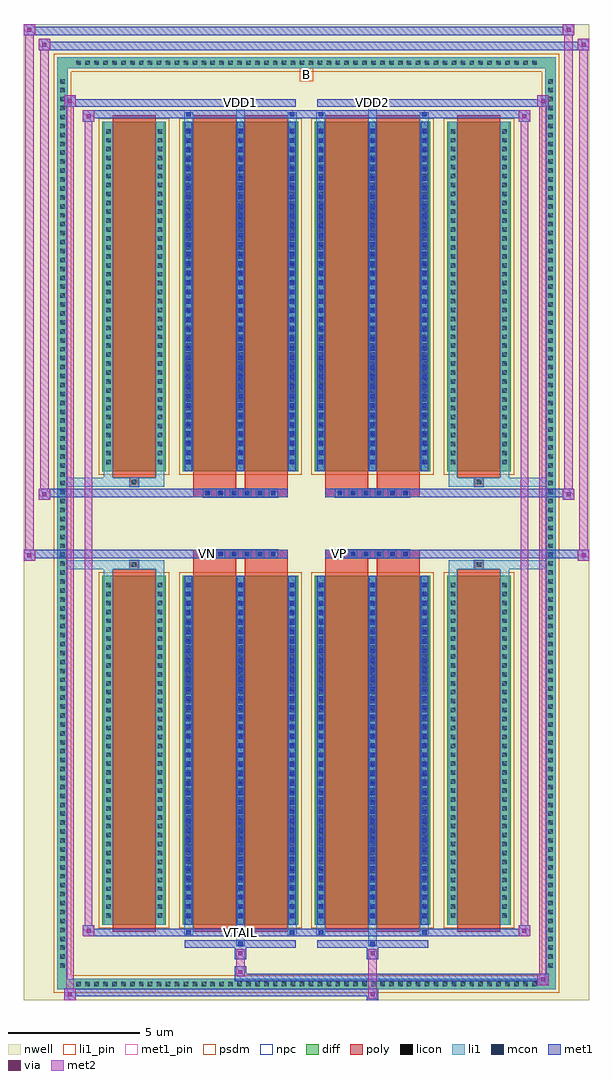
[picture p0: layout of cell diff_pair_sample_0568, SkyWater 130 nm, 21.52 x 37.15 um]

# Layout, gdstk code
import gdstk
lib = gdstk.Library(unit=1e-6, precision=5e-09)
def R(c, l, rs):  # rectangles x0, y0, x1, y1
    for r in rs: c.add(gdstk.rectangle(r[:2], r[2:], *l))
def A(c, l, x, y, w, h, nx, ny, dx, dy):  # array of equal rectangles
    R(c, l, [(x+i*dx, y+j*dy, x+i*dx+w, y+j*dy+h) for i in range(nx) for j in range(ny)])
def P(c, l, *ps):  # polygons
    for p in ps: c.add(gdstk.Polygon(p, *l))
nwell = (64, 20)
diff = (65, 20)
poly = (66, 20)
licon = (66, 44)
li1_pin = (67, 16)
li1 = (67, 20)
mcon = (67, 44)
met1_pin = (68, 16)
met1 = (68, 20)
via = (68, 44)
met2 = (69, 20)
psdm = (94, 20)
npc = (95, 20)

diff_pair_sample_0568 = lib.new_cell('diff_pair_sample_0568')
R(diff_pair_sample_0568, nwell, [(-10.76,-18.14,10.76,19.01), (-8.08,-16.33,-0.01,-0.795), (0.01,-16.33,8.08,-0.795), (-8.08,0.795,-0.01,16.33), (0.01,0.795,8.08,16.33)])
A(diff_pair_sample_0568, diff, -8.875, -17.74, 0.41, 0.41, 52, 2, 0.34, 35.07)
A(diff_pair_sample_0568, diff, -9.49, -17.035, 0.41, 0.41, 1, 100, 0, 0.34)
A(diff_pair_sample_0568, diff, 9.08, -17.035, 0.41, 0.41, 1, 100, 0, 0.34)
R(diff_pair_sample_0568, diff, [(-8.875,-17.74,8.875,-17.33), (-9.49,-17.035,-9.08,17.035), (9.08,-17.035,9.49,17.035), (-7.77,-15.285,-5.35,-1.985), (-4.71,-15.285,-0.32,-1.985), (0.32,-15.285,4.71,-1.985), (5.35,-15.285,7.77,-1.985), (-7.77,1.985,-5.35,15.285), (-4.71,1.985,-0.32,15.285), (0.32,1.985,4.71,15.285), (5.35,1.985,7.77,15.285), (-8.875,17.33,8.875,17.74)])
P(diff_pair_sample_0568, diff, [(9.49,17.74),(-9.49,17.74),(-9.49,-17.33),(-9.08,-17.33),(-9.08,17.33),(9.08,17.33),(9.08,-17.33),(-9.08,-17.33),(-9.49,-17.33),(-9.49,-17.74),(9.49,-17.74)])
A(diff_pair_sample_0568, poly, -3.93, -1.325, 0.33, 0.33, 6, 2, 0.5, 2.32)
A(diff_pair_sample_0568, poly, 1.1, -1.325, 0.33, 0.33, 6, 2, 0.5, 2.32)
R(diff_pair_sample_0568, poly, [(-7.38,-15.535,-5.74,-1.735), (-4.32,-15.535,-2.68,-1.735), (-2.35,-15.535,-0.71,-1.735), (0.71,-15.535,2.35,-1.735), (2.68,-15.535,4.32,-1.735), (5.74,-15.535,7.38,-1.735), (-6.725,-1.735,-6.395,-1.405), (-6.725,-1.735,-6.395,-1.405), (-4.32,-1.735,-2.68,-1.325), (-2.35,-1.735,-0.71,-1.325), (0.71,-1.735,2.35,-1.325), (2.68,-1.735,4.32,-1.325), (6.395,-1.735,6.725,-1.405), (6.395,-1.735,6.725,-1.405), (-4.32,-1.325,-0.71,-0.995), (0.71,-1.325,4.32,-0.995), (-4.32,0.995,-0.71,1.325), (0.71,0.995,4.32,1.325), (-4.32,1.325,-2.68,1.735), (-2.35,1.325,-0.71,1.735), (0.71,1.325,2.35,1.735), (2.68,1.325,4.32,1.735), (-6.725,1.405,-6.395,1.735), (-6.725,1.405,-6.395,1.735), (6.395,1.405,6.725,1.735), (6.395,1.405,6.725,1.735), (-7.38,1.735,-5.74,15.535), (-4.32,1.735,-2.68,15.535), (-2.35,1.735,-0.71,15.535), (0.71,1.735,2.35,15.535), (2.68,1.735,4.32,15.535), (5.74,1.735,7.38,15.535)])
A(diff_pair_sample_0568, licon, -8.755, -17.62, 0.17, 0.17, 52, 2, 0.34, 35.07)
A(diff_pair_sample_0568, licon, -9.37, -16.915, 0.17, 0.17, 1, 100, 0, 0.34)
A(diff_pair_sample_0568, licon, 9.2, -16.915, 0.17, 0.17, 1, 100, 0, 0.34)
A(diff_pair_sample_0568, licon, -7.63, -15.01, 0.17, 0.17, 1, 38, 0, 0.34)
A(diff_pair_sample_0568, licon, -5.66, -15.01, 0.17, 0.17, 1, 38, 0, 0.34)
A(diff_pair_sample_0568, licon, -4.57, -15.01, 0.17, 0.17, 3, 38, 1.97, 0.34)
A(diff_pair_sample_0568, licon, 0.46, -15.01, 0.17, 0.17, 3, 38, 1.97, 0.34)
A(diff_pair_sample_0568, licon, 5.49, -15.01, 0.17, 0.17, 1, 38, 0, 0.34)
A(diff_pair_sample_0568, licon, 7.46, -15.01, 0.17, 0.17, 1, 38, 0, 0.34)
A(diff_pair_sample_0568, licon, -3.85, -1.245, 0.17, 0.17, 6, 2, 0.5, 2.32)
A(diff_pair_sample_0568, licon, 1.18, -1.245, 0.17, 0.17, 6, 2, 0.5, 2.32)
A(diff_pair_sample_0568, licon, -7.63, 2.26, 0.17, 0.17, 1, 38, 0, 0.34)
A(diff_pair_sample_0568, licon, -5.66, 2.26, 0.17, 0.17, 1, 38, 0, 0.34)
A(diff_pair_sample_0568, licon, -4.57, 2.26, 0.17, 0.17, 3, 38, 1.97, 0.34)
A(diff_pair_sample_0568, licon, 0.46, 2.26, 0.17, 0.17, 3, 38, 1.97, 0.34)
A(diff_pair_sample_0568, licon, 5.49, 2.26, 0.17, 0.17, 1, 38, 0, 0.34)
A(diff_pair_sample_0568, licon, 7.46, 2.26, 0.17, 0.17, 1, 38, 0, 0.34)
R(diff_pair_sample_0568, licon, [(-6.645,-1.655,-6.475,-1.485), (6.475,-1.655,6.645,-1.485), (-6.645,1.485,-6.475,1.655), (6.475,1.485,6.645,1.655)])
R(diff_pair_sample_0568, li1_pin, [(-0.25,16.83,0.25,17.33)])
A(diff_pair_sample_0568, li1, -8.835, -17.7, 0.33, 0.33, 52, 2, 0.34, 35.07)
A(diff_pair_sample_0568, li1, -9.45, -16.995, 0.33, 0.33, 1, 100, 0, 0.34)
A(diff_pair_sample_0568, li1, 9.12, -16.995, 0.33, 0.33, 1, 100, 0, 0.34)
A(diff_pair_sample_0568, li1, -4.65, -15.285, 0.33, 13.3, 3, 2, 1.97, 17.27)
A(diff_pair_sample_0568, li1, 0.38, -15.285, 0.33, 13.3, 3, 2, 1.97, 17.27)
A(diff_pair_sample_0568, li1, -7.71, -15.09, 0.33, 0.33, 1, 38, 0, 0.34)
A(diff_pair_sample_0568, li1, -5.74, -15.09, 0.33, 0.33, 1, 38, 0, 0.34)
A(diff_pair_sample_0568, li1, -4.65, -15.09, 0.33, 0.33, 3, 38, 1.97, 0.34)
A(diff_pair_sample_0568, li1, 0.38, -15.09, 0.33, 0.33, 3, 38, 1.97, 0.34)
A(diff_pair_sample_0568, li1, 5.41, -15.09, 0.33, 0.33, 1, 38, 0, 0.34)
A(diff_pair_sample_0568, li1, 7.38, -15.09, 0.33, 0.33, 1, 38, 0, 0.34)
A(diff_pair_sample_0568, li1, -4.57, -15.02, 0.17, 0.17, 3, 36, 1.97, 0.36)
A(diff_pair_sample_0568, li1, -4.57, -15.02, 0.17, 12.77, 3, 2, 1.97, 17.27)
A(diff_pair_sample_0568, li1, 0.46, -15.02, 0.17, 0.17, 3, 36, 1.97, 0.36)
A(diff_pair_sample_0568, li1, 0.46, -15.02, 0.17, 12.77, 3, 2, 1.97, 17.27)
A(diff_pair_sample_0568, li1, -3.93, -1.325, 0.33, 0.33, 6, 2, 0.5, 2.32)
A(diff_pair_sample_0568, li1, 1.1, -1.325, 0.33, 0.33, 6, 2, 0.5, 2.32)
A(diff_pair_sample_0568, li1, -7.71, 2.18, 0.33, 0.33, 1, 38, 0, 0.34)
A(diff_pair_sample_0568, li1, -5.74, 2.18, 0.33, 0.33, 1, 38, 0, 0.34)
A(diff_pair_sample_0568, li1, -4.65, 2.18, 0.33, 0.33, 3, 38, 1.97, 0.34)
A(diff_pair_sample_0568, li1, 0.38, 2.18, 0.33, 0.33, 3, 38, 1.97, 0.34)
A(diff_pair_sample_0568, li1, 5.41, 2.18, 0.33, 0.33, 1, 38, 0, 0.34)
A(diff_pair_sample_0568, li1, 7.38, 2.18, 0.33, 0.33, 1, 38, 0, 0.34)
A(diff_pair_sample_0568, li1, -4.57, 2.25, 0.17, 0.17, 3, 36, 1.97, 0.36)
A(diff_pair_sample_0568, li1, 0.46, 2.25, 0.17, 0.17, 3, 36, 1.97, 0.36)
R(diff_pair_sample_0568, li1, [(-9.49,-17.74,-9.08,-17.33), (-9.49,-17.74,-9.08,-17.33), (-9.08,-17.74,9.08,-17.33), (9.08,-17.74,9.49,-17.33), (9.08,-17.74,9.49,-17.33), (-9.49,-17.33,-9.08,17.33), (9.08,-17.33,9.49,17.33), (-2.68,-16.09,-2.35,-15.285), (-2.6,-16.09,-2.43,-15.92), (2.35,-16.09,2.68,-15.285), (2.43,-16.09,2.6,-15.92), (-4.65,-15.66,-4.32,-15.285), (-4.57,-15.66,-4.4,-15.49), (-0.71,-15.66,-0.38,-15.285), (-0.63,-15.66,-0.46,-15.49), (0.38,-15.66,0.71,-15.285), (0.46,-15.66,0.63,-15.49), (4.32,-15.66,4.65,-15.285), (4.4,-15.66,4.57,-15.49), (-7.71,-15.285,-7.38,-1.985), (-5.74,-15.285,-5.41,-1.985), (5.41,-15.285,5.74,-1.985), (7.38,-15.285,7.71,-1.985), (-7.71,-1.985,-7.38,-1.405), (-5.74,-1.985,-5.41,-1.405), (5.41,-1.985,5.74,-1.405), (7.38,-1.985,7.71,-1.405), (-9.49,-1.735,-6.725,-1.405), (-7.71,-1.735,-6.725,-1.405), (-6.725,-1.735,-6.395,-1.405), (-6.395,-1.735,-5.41,-1.405), (5.41,-1.735,6.395,-1.405), (6.395,-1.735,6.725,-1.405), (6.395,-1.735,9.49,-1.405), (6.725,-1.735,7.71,-1.405), (-9.49,1.405,-6.725,1.735), (-7.71,1.405,-6.725,1.735), (-7.71,1.405,-7.38,1.985), (-6.725,1.405,-6.395,1.735), (-6.395,1.405,-5.41,1.735), (-5.74,1.405,-5.41,1.985), (5.41,1.405,6.395,1.735), (5.41,1.405,5.74,1.985), (6.395,1.405,6.725,1.735), (6.395,1.405,9.49,1.735), (6.725,1.405,7.71,1.735), (7.38,1.405,7.71,1.985), (-7.71,1.985,-7.38,15.285), (-5.74,1.985,-5.41,15.285), (5.41,1.985,5.74,15.285), (7.38,1.985,7.71,15.285), (-4.65,15.285,-4.32,15.66), (-2.68,15.285,-2.35,16.09), (-0.71,15.285,-0.38,15.66), (0.38,15.285,0.71,15.66), (2.35,15.285,2.68,16.09), (4.32,15.285,4.65,15.66), (-4.57,15.49,-4.4,15.66), (-0.63,15.49,-0.46,15.66), (0.46,15.49,0.63,15.66), (4.4,15.49,4.57,15.66), (-2.6,15.92,-2.43,16.09), (2.43,15.92,2.6,16.09), (-9.49,17.33,-9.08,17.74), (-9.49,17.33,-9.08,17.74), (-9.08,17.33,9.08,17.74), (9.08,17.33,9.49,17.74), (9.08,17.33,9.49,17.74)])
A(diff_pair_sample_0568, mcon, -4.57, -15.02, 0.17, 0.17, 3, 36, 1.97, 0.36)
A(diff_pair_sample_0568, mcon, 0.46, -15.02, 0.17, 0.17, 3, 36, 1.97, 0.36)
A(diff_pair_sample_0568, mcon, -3.85, -1.245, 0.17, 0.17, 6, 2, 0.5, 2.32)
A(diff_pair_sample_0568, mcon, 1.18, -1.245, 0.17, 0.17, 6, 2, 0.5, 2.32)
A(diff_pair_sample_0568, mcon, -4.57, 2.25, 0.17, 0.17, 3, 36, 1.97, 0.36)
A(diff_pair_sample_0568, mcon, 0.46, 2.25, 0.17, 0.17, 3, 36, 1.97, 0.36)
R(diff_pair_sample_0568, mcon, [(-2.6,-16.09,-2.43,-15.92), (2.43,-16.09,2.6,-15.92), (-4.57,-15.66,-4.4,-15.49), (-0.63,-15.66,-0.46,-15.49), (0.46,-15.66,0.63,-15.49), (4.4,-15.66,4.57,-15.49), (-4.57,15.49,-4.4,15.66), (-0.63,15.49,-0.46,15.66), (0.46,15.49,0.63,15.66), (4.4,15.49,4.57,15.66), (-2.6,15.92,-2.43,16.09), (2.43,15.92,2.6,16.09)])
R(diff_pair_sample_0568, met1_pin, [(-2.65,-15.7,-2.38,-15.43), (-3.9,-1.285,-3.63,-1.015), (1.13,-1.285,1.4,-1.015), (-2.65,15.88,-2.38,16.15), (2.38,15.88,2.65,16.15)])
A(diff_pair_sample_0568, met1, -4.63, -15.285, 0.29, 13.3, 3, 2, 1.97, 17.27)
A(diff_pair_sample_0568, met1, 0.4, -15.285, 0.29, 13.3, 3, 2, 1.97, 17.27)
A(diff_pair_sample_0568, met1, -4.63, -15.08, 0.29, 0.29, 3, 36, 1.97, 0.36)
A(diff_pair_sample_0568, met1, 0.4, -15.08, 0.29, 0.29, 3, 36, 1.97, 0.36)
A(diff_pair_sample_0568, met1, -3.91, -1.305, 0.29, 0.29, 6, 2, 0.5, 2.32)
A(diff_pair_sample_0568, met1, 1.12, -1.305, 0.29, 0.29, 6, 2, 0.5, 2.32)
A(diff_pair_sample_0568, met1, -4.63, 2.19, 0.29, 0.29, 3, 36, 1.97, 0.36)
A(diff_pair_sample_0568, met1, 0.4, 2.19, 0.29, 0.29, 3, 36, 1.97, 0.36)
R(diff_pair_sample_0568, met1, [(-9.22,-18.14,-8.79,-17.71), (2.3,-18.14,2.73,-17.71), (-9.22,-18,2.73,-17.71), (8.79,-17.57,9.22,-17.14), (-2.73,-17.43,9.22,-17.14), (-2.73,-17.29,-2.3,-16.86), (-2.73,-16.58,-2.3,-16.15), (2.3,-16.58,2.73,-16.15), (-4.63,-16.15,-0.4,-15.86), (-2.66,-16.15,-2.37,-15.86), (0.4,-16.15,4.63,-15.86), (2.37,-16.15,2.66,-15.86), (-8.51,-15.72,-8.08,-15.29), (-8.51,-15.72,-4.63,-15.43), (-4.63,-15.72,-4.34,-15.43), (-4.63,-15.72,-0.4,-15.43), (-0.69,-15.72,-0.4,-15.43), (-0.4,-15.72,0.4,-15.43), (0.4,-15.72,0.69,-15.43), (0.4,-15.72,4.63,-15.43), (4.34,-15.72,4.63,-15.43), (4.63,-15.72,8.51,-15.43), (8.08,-15.72,8.51,-15.29), (-10.76,-1.425,-10.33,-0.995), (10.33,-1.425,10.76,-0.995), (-10.76,-1.325,-0.71,-0.995), (-4.32,-1.325,-0.71,-0.995), (0.71,-1.325,4.32,-0.995), (0.71,-1.325,10.76,-0.995), (-10.19,0.895,-9.76,1.325), (9.76,0.895,10.19,1.325), (-10.19,0.995,-4.32,1.325), (-4.32,0.995,-0.71,1.325), (0.71,0.995,4.32,1.325), (4.32,0.995,10.19,1.325), (-8.51,15.29,-8.08,15.72), (8.08,15.29,8.51,15.72), (-8.51,15.43,-4.63,15.72), (-4.63,15.43,-4.34,15.72), (-4.63,15.43,-0.4,15.72), (-0.69,15.43,-0.4,15.72), (-0.4,15.43,0.4,15.72), (0.4,15.43,0.69,15.72), (0.4,15.43,4.63,15.72), (4.34,15.43,4.63,15.72), (4.63,15.43,8.51,15.72), (-9.22,15.86,-8.79,16.29), (-9.22,15.86,-4.63,16.15), (-4.63,15.86,-0.4,16.15), (-2.66,15.86,-2.37,16.15), (0.4,15.86,4.63,16.15), (2.37,15.86,2.66,16.15), (4.63,15.86,9.22,16.15), (8.79,15.86,9.22,16.29), (-10.19,18.01,-9.76,18.44), (-10.19,18.01,-8.08,18.34), (-8.08,18.01,8.08,18.34), (8.08,18.01,10.76,18.34), (10.33,18.01,10.76,18.44), (-10.76,18.58,-10.33,19.01), (-10.76,18.58,-8.08,18.91), (-8.08,18.58,8.08,18.91), (8.08,18.58,10.19,18.91), (9.76,18.58,10.19,19.01)])
R(diff_pair_sample_0568, via, [(-9.08,-18,-8.93,-17.85), (2.44,-18,2.59,-17.85), (8.93,-17.43,9.08,-17.28), (-2.59,-17.15,-2.44,-17), (-2.59,-16.44,-2.44,-16.29), (2.44,-16.44,2.59,-16.29), (-8.37,-15.58,-8.22,-15.43), (8.22,-15.58,8.37,-15.43), (-10.62,-1.285,-10.47,-1.135), (10.47,-1.285,10.62,-1.135), (-10.05,1.035,-9.9,1.185), (9.9,1.035,10.05,1.185), (-8.37,15.43,-8.22,15.58), (8.22,15.43,8.37,15.58), (-9.08,16,-8.93,16.15), (8.93,16,9.08,16.15), (-10.05,18.15,-9.9,18.3), (10.47,18.15,10.62,18.3), (-10.62,18.72,-10.47,18.87), (9.9,18.72,10.05,18.87)])
R(diff_pair_sample_0568, met2, [(-9.22,-18.14,-8.79,-17.71), (-9.15,-18.14,-8.86,16.29), (-8.86,-18.14,-8.79,-17.71), (-9.17,-18.09,-8.84,-17.76), (2.35,-18.09,2.68,-17.76), (2.35,-17.76,2.68,-16.53), (8.79,-17.57,9.22,-17.14), (8.86,-17.57,9.15,16.29), (9.15,-17.57,9.22,-17.14), (8.84,-17.52,9.17,-17.19), (-2.68,-17.24,-2.35,-16.91), (-2.68,-16.91,-2.35,-16.53), (-2.68,-16.53,-2.35,-16.2), (2.35,-16.53,2.68,-16.2), (-8.51,-15.72,-8.08,-15.29), (-8.44,-15.72,-8.15,15.72), (-8.15,-15.72,-8.08,-15.29), (8.08,-15.72,8.51,-15.29), (8.15,-15.72,8.44,15.72), (8.44,-15.72,8.51,-15.29), (-8.46,-15.67,-8.13,-15.34), (8.13,-15.67,8.46,-15.34), (-10.76,-1.425,-10.33,-0.995), (-10.71,-1.425,-10.38,19.01), (-10.38,-1.425,-10.33,-0.995), (10.33,-1.425,10.76,-0.995), (10.38,-1.425,10.71,18.44), (10.71,-1.425,10.76,-0.995), (-10.71,-1.375,-10.38,-1.045), (10.38,-1.375,10.71,-1.045), (-10.19,0.895,-9.76,1.325), (-10.14,0.895,-9.81,18.44), (-9.81,0.895,-9.76,1.325), (9.76,0.895,10.19,1.325), (9.81,0.895,10.14,19.01), (10.14,0.895,10.19,1.325), (-10.14,0.945,-9.81,1.275), (9.81,0.945,10.14,1.275), (-8.51,15.29,-8.08,15.72), (-8.15,15.29,-8.08,15.72), (8.08,15.29,8.51,15.72), (8.44,15.29,8.51,15.72), (-8.46,15.34,-8.13,15.67), (8.13,15.34,8.46,15.67), (-9.22,15.86,-8.79,16.29), (-8.86,15.86,-8.79,16.29), (8.79,15.86,9.22,16.29), (9.15,15.86,9.22,16.29), (-9.17,15.91,-8.84,16.24), (8.84,15.91,9.17,16.24), (-10.19,18.01,-9.76,18.44), (-9.81,18.01,-9.76,18.44), (10.33,18.01,10.76,18.44), (10.71,18.01,10.76,18.44), (-10.14,18.06,-9.81,18.39), (10.38,18.06,10.71,18.39), (-10.76,18.58,-10.33,19.01), (-10.38,18.58,-10.33,19.01), (9.76,18.58,10.19,19.01), (10.14,18.58,10.19,19.01), (-10.71,18.63,-10.38,18.96), (9.81,18.63,10.14,18.96)])
R(diff_pair_sample_0568, psdm, [(-7.9,-15.415,-5.22,-1.855), (-4.84,-15.415,-0.19,-1.855), (0.19,-15.415,4.84,-1.855), (5.22,-15.415,7.9,-1.855), (-7.9,1.855,-5.22,15.415), (-4.84,1.855,-0.19,15.415), (0.19,1.855,4.84,15.415), (5.22,1.855,7.9,15.415)])
P(diff_pair_sample_0568, psdm, [(9.62,17.87),(-9.62,17.87),(-9.62,-17.2),(-8.95,-17.2),(-8.95,17.2),(8.95,17.2),(8.95,-17.2),(-8.95,-17.2),(-9.62,-17.2),(-9.62,-17.87),(9.62,-17.87)])
A(diff_pair_sample_0568, npc, -3.95, -1.345, 0.37, 0.37, 6, 2, 0.5, 2.32)
A(diff_pair_sample_0568, npc, 1.08, -1.345, 0.37, 0.37, 6, 2, 0.5, 2.32)
R(diff_pair_sample_0568, npc, [(-6.745,-1.755,-6.375,-1.385), (6.375,-1.755,6.745,-1.385), (-3.95,-1.345,-3.08,-0.975), (-3.95,-1.345,-3.08,-0.975), (-3.45,-1.345,-2.58,-0.975), (-3.45,-1.345,-2.58,-0.975), (-2.95,-1.345,-2.08,-0.975), (-2.95,-1.345,-2.08,-0.975), (-2.45,-1.345,-1.58,-0.975), (-2.45,-1.345,-1.58,-0.975), (-1.95,-1.345,-1.08,-0.975), (-1.95,-1.345,-1.08,-0.975), (1.08,-1.345,1.95,-0.975), (1.08,-1.345,1.95,-0.975), (1.58,-1.345,2.45,-0.975), (1.58,-1.345,2.45,-0.975), (2.08,-1.345,2.95,-0.975), (2.08,-1.345,2.95,-0.975), (2.58,-1.345,3.45,-0.975), (2.58,-1.345,3.45,-0.975), (3.08,-1.345,3.95,-0.975), (3.08,-1.345,3.95,-0.975), (-3.95,0.975,-3.08,1.345), (-3.95,0.975,-3.08,1.345), (-3.45,0.975,-2.58,1.345), (-3.45,0.975,-2.58,1.345), (-2.95,0.975,-2.08,1.345), (-2.95,0.975,-2.08,1.345), (-2.45,0.975,-1.58,1.345), (-2.45,0.975,-1.58,1.345), (-1.95,0.975,-1.08,1.345), (-1.95,0.975,-1.08,1.345), (1.08,0.975,1.95,1.345), (1.08,0.975,1.95,1.345), (1.58,0.975,2.45,1.345), (1.58,0.975,2.45,1.345), (2.08,0.975,2.95,1.345), (2.08,0.975,2.95,1.345), (2.58,0.975,3.45,1.345), (2.58,0.975,3.45,1.345), (3.08,0.975,3.95,1.345), (3.08,0.975,3.95,1.345), (-6.745,1.385,-6.375,1.755), (6.375,1.385,6.745,1.755)])
diff_pair_sample_0568.add(gdstk.Label('VTAIL', (-2.515,-15.565), layer=68, texttype=5))
diff_pair_sample_0568.add(gdstk.Label('VN', (-3.765,-1.15), layer=68, texttype=5))
diff_pair_sample_0568.add(gdstk.Label('VP', (1.265,-1.15), layer=68, texttype=5))
diff_pair_sample_0568.add(gdstk.Label('B', (0,17.08), layer=67, texttype=5))
diff_pair_sample_0568.add(gdstk.Label('VDD2', (2.515,16.015), layer=68, texttype=5))
diff_pair_sample_0568.add(gdstk.Label('VDD1', (-2.515,16.015), layer=68, texttype=5))

lib.write_gds('diff_pair_sample_0568.gds')
